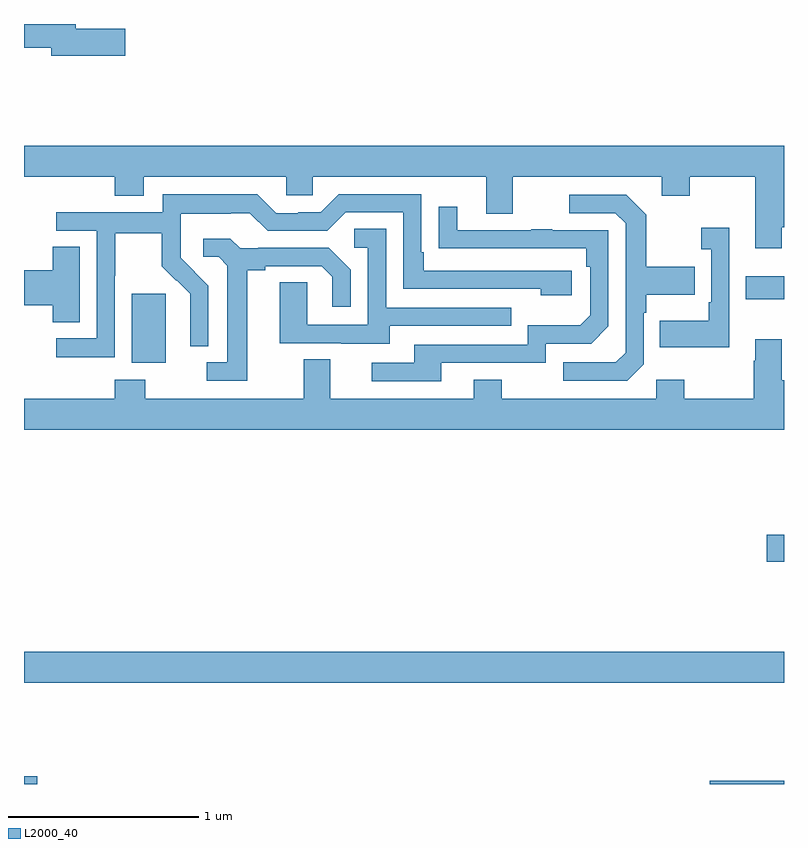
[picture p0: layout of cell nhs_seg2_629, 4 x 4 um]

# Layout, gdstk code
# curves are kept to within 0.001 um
import gdstk
lib = gdstk.Library(unit=1e-6, precision=1e-09)
def R(c, l, rs):  # rectangles x0, y0, x1, y1
    for r in rs: c.add(gdstk.rectangle(r[:2], r[2:], *l))
def P(c, l, *ps):  # polygons
    for p in ps: c.add(gdstk.Polygon(p, *l))
L2000_40 = (2000, 40)

nhs_seg2_629 = lib.new_cell('nhs_seg2_629')
R(nhs_seg2_629, L2000_40, [(143,617.8,143.071,617.84), (146.608,617.8,147,617.816), (143,618.332,147,618.496), (146.91,618.97,147,619.112), (143.567,620.018,143.746,620.379), (146.799,620.351,147,620.473)])
P(nhs_seg2_629, L2000_40, [(143.533,621.776),(143.272,621.776),(143.272,621.8),(143,621.8),(143,621.676),(143.144,621.676),(143.144,621.634),(143.533,621.634)],
  [(146.989,620.731),(147,620.731),(147,621.16),(143,621.16),(143,620.996),(143.477,620.996),(143.477,620.897),(143.629,620.897),(143.629,620.996),(144.381,620.996),(144.381,620.898),(144.519,620.898),(144.519,620.996),(145.433,620.996),(145.433,620.802),(145.573,620.802),(145.573,620.996),(146.357,620.996),(146.357,620.897),(146.505,620.897),(146.505,620.996),(146.849,620.996),(146.849,620.619),(146.989,620.619)],
  [(143.478,620.476),(143.481,620.476),(143.481,620.7),(143.725,620.7),(143.725,620.525),(143.802,620.448),(143.805,620.451),(143.876,620.381),(143.876,620.258),(143.874,620.258),(143.874,620.104),(143.97,620.104),(143.97,620.422),(143.824,620.57),(143.824,620.667),(143.826,620.667),(143.826,620.801),(144.089,620.801),(144.089,620.805),(144.189,620.805),(144.282,620.712),(144.597,620.712),(144.693,620.808),(144.996,620.808),(144.996,620.406),(145.721,620.406),(145.721,620.372),(145.882,620.372),(145.882,620.502),(145.105,620.502),(145.105,620.599),(145.092,620.599),(145.092,620.904),(144.657,620.904),(144.561,620.808),(144.443,620.808),(144.443,620.805),(144.327,620.805),(144.227,620.905),(143.73,620.905),(143.73,620.808),(143.169,620.808),(143.169,620.712),(143.382,620.712),(143.382,620.145),(143.169,620.145),(143.169,620.047),(143.478,620.047)],
  [(146.262,620.01),(146.262,620.279),(146.275,620.279),(146.275,620.375),(146.531,620.375),(146.531,620.523),(146.275,620.523),(146.275,620.795),(146.169,620.901),(145.869,620.901),(145.869,620.805),(146.112,620.805),(146.166,620.751),(146.166,620.07),(146.115,620.019),(145.839,620.019),(145.839,619.923),(146.175,619.923)],
  [(145.195,620.016),(145.746,620.016),(145.746,620.118),(145.986,620.118),(146.076,620.208),(146.076,620.715),(145.781,620.715),(145.781,620.72),(145.669,620.72),(145.669,620.715),(145.279,620.715),(145.279,620.839),(145.183,620.839),(145.183,620.62),(145.96,620.619),(145.96,620.522),(145.98,620.522),(145.98,620.268),(145.927,620.215),(145.65,620.215),(145.65,620.112),(145.055,620.112),(145.055,620.016),(144.831,620.016),(144.831,619.92),(145.195,619.92)],
  [(146.712,620.728),(146.565,620.728),(146.565,620.615),(146.616,620.615),(146.616,620.335),(146.604,620.335),(146.604,620.239),(146.347,620.239),(146.347,620.099),(146.712,620.099)],
  [(144.925,620.211),(145.565,620.211),(145.565,620.307),(144.906,620.307),(144.906,620.723),(144.738,620.723),(144.738,620.622),(144.81,620.622),(144.81,620.217),(144.492,620.217),(144.492,620.441),(144.347,620.441),(144.347,620.121),(144.671,620.121),(144.671,620.117),(144.925,620.117)],
  [(144.175,620.504),(144.271,620.504),(144.271,620.526),(144.566,620.526),(144.623,620.469),(144.623,620.313),(144.72,620.313),(144.72,620.506),(144.604,620.622),(144.232,620.622),(144.232,620.619),(144.138,620.619),(144.086,620.671),(143.943,620.671),(143.943,620.574),(144.024,620.574),(144.071,620.527),(144.071,620.019),(143.961,620.019),(143.961,619.923),(144.175,619.923)],
  [(143.293,620.627),(143.15,620.627),(143.15,620.504),(143,620.504),(143,620.321),(143.15,620.321),(143.15,620.23),(143.293,620.23)],
  [(147,619.924),(146.989,619.924),(146.989,620.14),(146.849,620.14),(146.849,620.027),(146.842,620.027),(146.842,619.828),(146.475,619.828),(146.475,619.927),(146.328,619.927),(146.328,619.828),(145.515,619.828),(145.515,619.927),(145.367,619.927),(145.367,619.828),(144.613,619.828),(144.613,620.036),(144.473,620.036),(144.473,619.828),(143.637,619.828),(143.637,619.927),(143.477,619.927),(143.477,619.828),(143,619.828),(143,619.664),(147,619.664)])

lib.write_gds('nhs_seg2_629.gds')
